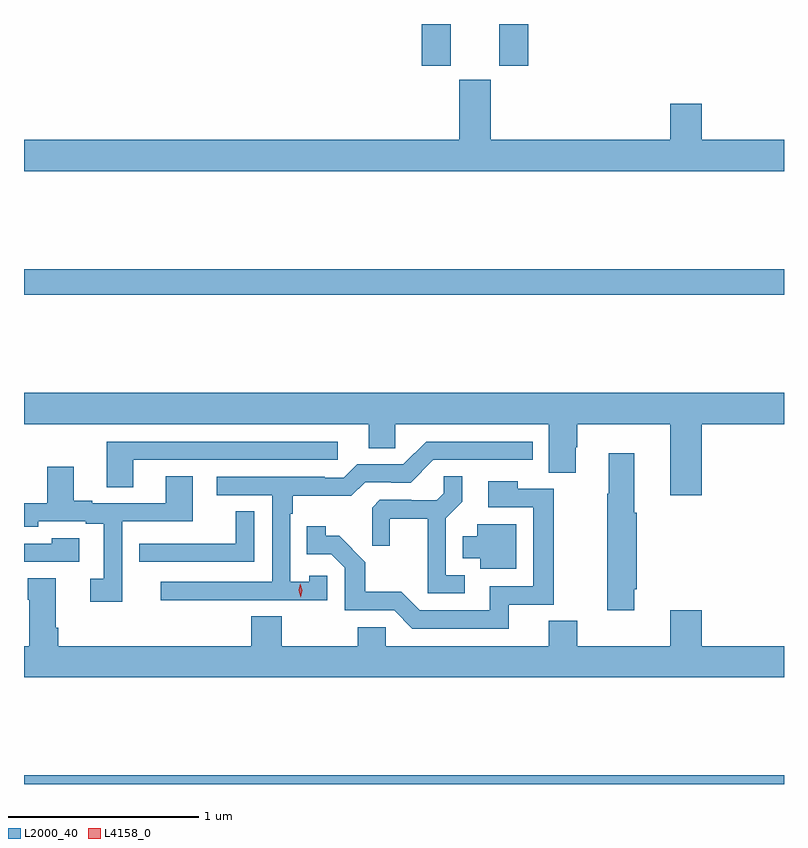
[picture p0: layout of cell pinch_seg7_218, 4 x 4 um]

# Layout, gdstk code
import gdstk
lib = gdstk.Library(unit=1e-6, precision=1e-09)
def R(c, l, rs):  # rectangles x0, y0, x1, y1
    for r in rs: c.add(gdstk.rectangle(r[:2], r[2:], *l))
def P(c, l, *ps):  # polygons
    for p in ps: c.add(gdstk.Polygon(p, *l))
L2000_40 = (2000, 40)
L4158_0 = (4158, 0)

pinch_seg7_218 = lib.new_cell('pinch_seg7_218')
R(pinch_seg7_218, L2000_40, [(629.138,1074.646,633.138,1074.692), (629.138,1077.22,633.138,1077.356), (631.232,1078.425,631.384,1078.646), (631.64,1078.425,631.793,1078.646)])
P(pinch_seg7_218, L2000_40, [(633.138,1078.036),(632.704,1078.036),(632.704,1078.225),(632.54,1078.225),(632.54,1078.036),(631.594,1078.036),(631.594,1078.353),(631.43,1078.353),(631.43,1078.036),(629.138,1078.036),(629.138,1077.872),(633.138,1077.872)],
  [(632.704,1076.54),(633.138,1076.54),(633.138,1076.704),(629.138,1076.704),(629.138,1076.54),(630.953,1076.54),(630.953,1076.413),(631.092,1076.413),(631.092,1076.54),(631.901,1076.54),(631.901,1076.284),(632.041,1076.284),(632.041,1076.418),(632.049,1076.418),(632.049,1076.54),(632.54,1076.54),(632.54,1076.166),(632.704,1076.166)],
  [(629.713,1076.352),(630.79,1076.352),(630.79,1076.448),(629.573,1076.448),(629.573,1076.209),(629.713,1076.209)],
  [(630.251,1075.614),(630.735,1075.614),(630.735,1075.743),(630.639,1075.743),(630.639,1075.711),(630.54,1075.711),(630.54,1076.069),(630.553,1076.069),(630.553,1076.162),(630.86,1076.162),(630.933,1076.235),(631.072,1076.235),(631.072,1076.232),(631.173,1076.232),(631.293,1076.352),(631.816,1076.352),(631.816,1076.448),(631.254,1076.448),(631.134,1076.328),(630.891,1076.328),(630.822,1076.259),(630.722,1076.259),(630.722,1076.262),(630.153,1076.262),(630.153,1076.166),(630.444,1076.166),(630.444,1075.71),(629.859,1075.71),(629.859,1075.612),(630.251,1075.612)],
  [(632.35,1075.672),(632.363,1075.672),(632.363,1076.073),(632.35,1076.073),(632.35,1076.386),(632.216,1076.386),(632.216,1076.173),(632.209,1076.173),(632.209,1075.56),(632.35,1075.56)],
  [(629.655,1076.028),(630.025,1076.028),(630.025,1076.267),(629.885,1076.267),(629.885,1076.124),(629.497,1076.124),(629.497,1076.137),(629.401,1076.137),(629.401,1076.317),(629.261,1076.317),(629.261,1076.124),(629.138,1076.124),(629.138,1076.001),(629.214,1076.001),(629.214,1076.028),(629.462,1076.028),(629.462,1076.016),(629.558,1076.016),(629.558,1075.725),(629.487,1075.725),(629.487,1075.605),(629.655,1075.605)],
  [(631.459,1075.746),(631.359,1075.746),(631.359,1076.045),(631.445,1076.131),(631.445,1076.267),(631.347,1076.267),(631.347,1076.176),(631.31,1076.139),(631.176,1076.139),(631.176,1076.142),(631.011,1076.142),(630.97,1076.101),(630.97,1075.899),(631.064,1075.899),(631.064,1076.042),(631.262,1076.042),(631.262,1075.65),(631.459,1075.65)],
  [(631.688,1075.59),(631.927,1075.59),(631.927,1076.199),(631.737,1076.199),(631.737,1076.239),(631.581,1076.239),(631.581,1076.103),(631.818,1076.103),(631.818,1075.686),(631.589,1075.686),(631.589,1075.56),(631.221,1075.56),(631.123,1075.659),(630.934,1075.659),(630.934,1075.814),(630.796,1075.952),(630.726,1075.952),(630.726,1076.002),(630.625,1076.002),(630.625,1075.854),(630.756,1075.854),(630.825,1075.785),(630.825,1075.56),(631.086,1075.56),(631.182,1075.464),(631.688,1075.464)],
  [(630.351,1076.081),(630.253,1076.081),(630.253,1075.911),(629.857,1075.911),(629.857,1075.91),(629.745,1075.91),(629.745,1075.815),(630.351,1075.815)],
  [(631.729,1076.014),(631.523,1076.014),(631.523,1075.951),(631.448,1075.951),(631.448,1075.835),(631.538,1075.835),(631.538,1075.778),(631.729,1075.778)],
  [(629.428,1075.939),(629.283,1075.939),(629.283,1075.911),(629.138,1075.911),(629.138,1075.815),(629.428,1075.815)],
  [(633.138,1075.372),(632.704,1075.372),(632.704,1075.561),(632.54,1075.561),(632.54,1075.372),(632.049,1075.372),(632.049,1075.505),(631.901,1075.505),(631.901,1075.372),(631.041,1075.372),(631.041,1075.47),(630.895,1075.47),(630.895,1075.372),(630.495,1075.372),(630.495,1075.529),(630.335,1075.529),(630.335,1075.372),(629.318,1075.372),(629.318,1075.468),(629.305,1075.468),(629.305,1075.729),(629.158,1075.729),(629.158,1075.616),(629.165,1075.616),(629.165,1075.372),(629.138,1075.372),(629.138,1075.208),(633.138,1075.208)])
P(pinch_seg7_218, L4158_0, [(630.594,1075.629),(630.594,1075.629),(630.583,1075.665),(630.592,1075.701),(630.592,1075.701),(630.592,1075.701),(630.603,1075.666),(630.594,1075.629)])

lib.write_gds('pinch_seg7_218.gds')
